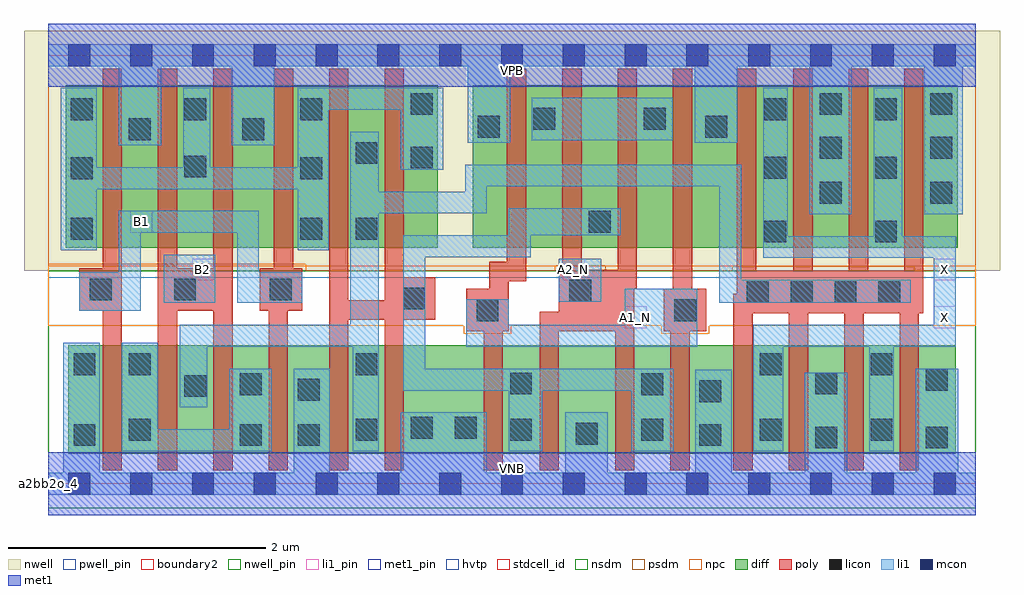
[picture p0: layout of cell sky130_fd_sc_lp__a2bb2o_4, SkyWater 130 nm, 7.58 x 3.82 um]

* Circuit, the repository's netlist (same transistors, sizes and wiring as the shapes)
* Copyright 2020 The SkyWater PDK Authors
*
* Licensed under the Apache License, Version 2.0 (the "License");
* you may not use this file except in compliance with the License.
* You may obtain a copy of the License at
*
*     https://www.apache.org/licenses/LICENSE-2.0
*
* Unless required by applicable law or agreed to in writing, software
* distributed under the License is distributed on an "AS IS" BASIS,
* WITHOUT WARRANTIES OR CONDITIONS OF ANY KIND, either express or implied.
* See the License for the specific language governing permissions and
* limitations under the License.
*
* SPDX-License-Identifier: Apache-2.0

.SUBCKT sky130_fd_sc_lp__a2bb2o_4 A1_N A2_N B1 B2 VGND VNB VPB VPWR X
*.PININFO A1_N:I A2_N:I B1:I B2:I VGND:I VNB:I VPB:I VPWR:I X:O
MMIN2 X y VGND VNB sky130_fd_pr__nfet_01v8 m=4 w=0.84U l=0.15U mult=1 sa=0.265
+ sb=0.265 sd=0.28 area=0.063 perim=1.14
MMNnor0 inor A1_N VGND VNB sky130_fd_pr__nfet_01v8 m=2 w=0.84U l=0.15U mult=1 sa=0.265
+ sb=0.265 sd=0.28 area=0.063 perim=1.14
MMNnor1 inor A2_N VGND VNB sky130_fd_pr__nfet_01v8 m=2 w=0.84U l=0.15U mult=1 sa=0.265
+ sb=0.265 sd=0.28 area=0.063 perim=1.14
MMNaoi10 VGND B1 sndNB1 VNB sky130_fd_pr__nfet_01v8 m=2 w=0.84U l=0.15U mult=1
+ sa=0.265 sb=0.265 sd=0.28 area=0.063 perim=1.14
MMNaoi11 sndNB1 B2 y VNB sky130_fd_pr__nfet_01v8 m=2 w=0.84U l=0.15U mult=1 sa=0.265
+ sb=0.265 sd=0.28 area=0.063 perim=1.14
MMNaoi20 y inor VGND VNB sky130_fd_pr__nfet_01v8 m=2 w=0.84U l=0.15U mult=1 sa=0.265
+ sb=0.265 sd=0.28 area=0.063 perim=1.14
MMIP2 X y VPWR VPB sky130_fd_pr__pfet_01v8_hvt m=4 w=1.26U l=0.15U mult=1 sa=0.265
+ sb=0.265 sd=0.28 area=0.063 perim=1.14
MMPnor0 VPWR A1_N sndPA1N VPB sky130_fd_pr__pfet_01v8_hvt m=2 w=1.26U l=0.15U mult=1
+ sa=0.265 sb=0.265 sd=0.28 area=0.063 perim=1.14
MMPnor1 sndPA1N A2_N inor VPB sky130_fd_pr__pfet_01v8_hvt m=2 w=1.26U l=0.15U mult=1
+ sa=0.265 sb=0.265 sd=0.28 area=0.063 perim=1.14
MMPaoi10 pmid B1 VPWR VPB sky130_fd_pr__pfet_01v8_hvt m=2 w=1.26U l=0.15U mult=1
+ sa=0.265 sb=0.265 sd=0.28 area=0.063 perim=1.14
MMPaoi11 pmid B2 VPWR VPB sky130_fd_pr__pfet_01v8_hvt m=2 w=1.26U l=0.15U mult=1
+ sa=0.265 sb=0.265 sd=0.28 area=0.063 perim=1.14
MMPaoi20 y inor pmid VPB sky130_fd_pr__pfet_01v8_hvt m=2 w=1.26U l=0.15U mult=1
+ sa=0.265 sb=0.265 sd=0.28 area=0.063 perim=1.14
.ENDS sky130_fd_sc_lp__a2bb2o_4

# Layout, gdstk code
import gdstk
lib = gdstk.Library(unit=1e-6, precision=1e-09)
def R(c, l, rs):  # rectangles x0, y0, x1, y1
    for r in rs: c.add(gdstk.rectangle(r[:2], r[2:], *l))
def A(c, l, x, y, w, h, nx, ny, dx, dy):  # array of equal rectangles
    R(c, l, [(x+i*dx, y+j*dy, x+i*dx+w, y+j*dy+h) for i in range(nx) for j in range(ny)])
def P(c, l, *ps):  # polygons
    for p in ps: c.add(gdstk.Polygon(p, *l))
nwell_pin = (64, 16)
nwell = (64, 20)
diff = (65, 20)
poly = (66, 20)
licon = (66, 44)
li1_pin = (67, 16)
li1 = (67, 20)
mcon = (67, 44)
met1_pin = (68, 16)
met1 = (68, 20)
hvtp = (78, 44)
stdcell_id = (81, 4)
nsdm = (93, 44)
psdm = (94, 20)
npc = (95, 20)
pwell_pin = (122, 16)
boundary2 = (236, 0)

sky130_fd_sc_lp__a2bb2o_ = lib.new_cell('sky130_fd_sc_lp__a2bb2o_4')
R(sky130_fd_sc_lp__a2bb2o_, nwell_pin, [(0,3.085,7.2,3.33)])
R(sky130_fd_sc_lp__a2bb2o_, nwell, [(-0.19,1.655,7.39,3.52)])
R(sky130_fd_sc_lp__a2bb2o_, diff, [(0.155,0.235,7.045,1.075), (0.135,1.835,3.025,3.095), (3.295,1.835,7.06,3.095)])
P(sky130_fd_sc_lp__a2bb2o_, poly, [(0.57,3.225),(0.42,3.225),(0.42,1.675),(0.24,1.675),(0.24,1.345),(0.42,1.345),(0.42,0.105),(0.57,0.105)],
  [(1.43,3.225),(1.28,3.225),(1.28,1.675),(1,1.675),(1,3.225),(0.85,3.225),(0.85,0.105),(1,0.105),(1,1.345),(1.28,1.345),(1.28,0.105),(1.43,0.105)],
  [(1.97,1.675),(1.9,1.675),(1.9,3.225),(1.75,3.225),(1.75,1.675),(1.64,1.675),(1.64,1.345),(1.71,1.345),(1.71,0.105),(1.86,0.105),(1.86,1.345),(1.97,1.345)],
  [(3.005,1.605),(2.76,1.605),(2.76,3.225),(2.61,3.225),(2.61,1.425),(2.33,1.425),(2.33,3.225),(2.18,3.225),(2.18,0.105),(2.33,0.105),(2.33,1.275),(2.61,1.275),(2.61,0.105),(2.76,0.105),(2.76,1.275),(3.005,1.275)],
  [(3.71,3.225),(3.56,3.225),(3.56,1.725),(3.425,1.725),(3.425,1.515),(3.245,1.515),(3.245,1.185),(3.38,1.185),(3.38,0.105),(3.53,0.105),(3.53,1.185),(3.575,1.185),(3.575,1.575),(3.71,1.575)],
  [(4.57,3.225),(4.42,3.225),(4.42,1.665),(4.14,1.665),(4.14,3.225),(3.99,3.225),(3.99,1.665),(3.965,1.665),(3.965,1.335),(3.815,1.335),(3.815,0.105),(3.965,0.105),(3.965,1.185),(4.4,1.185),(4.4,0.105),(4.55,0.105),(4.55,1.515),(4.57,1.515)],
  [(5.11,1.515),(5,1.515),(5,3.225),(4.85,3.225),(4.85,1.515),(4.78,1.515),(4.78,1.185),(4.83,1.185),(4.83,0.105),(4.98,0.105),(4.98,1.185),(5.11,1.185)],
  [(6.795,3.225),(6.645,3.225),(6.645,1.655),(6.365,1.655),(6.365,3.225),(6.215,3.225),(6.215,1.655),(5.935,1.655),(5.935,3.225),(5.785,3.225),(5.785,1.655),(5.495,1.655),(5.495,3.225),(5.345,3.225),(5.345,1.475),(5.32,1.475),(5.32,0.105),(5.47,0.105),(5.47,1.325),(5.75,1.325),(5.75,0.105),(5.9,0.105),(5.9,1.325),(6.18,1.325),(6.18,0.105),(6.33,0.105),(6.33,1.325),(6.61,1.325),(6.61,0.105),(6.76,0.105),(6.76,1.325),(6.795,1.325)])
A(sky130_fd_sc_lp__a2bb2o_, licon, 5.425, 1.405, 0.17, 0.17, 4, 1, 0.34, 0)
R(sky130_fd_sc_lp__a2bb2o_, licon, [(5.955,0.275,6.125,0.445), (6.815,0.275,6.985,0.445), (0.195,0.295,0.365,0.465), (1.485,0.295,1.655,0.465), (1.935,0.295,2.105,0.465), (5.055,0.295,5.225,0.465), (4.095,0.305,4.265,0.475), (0.625,0.335,0.795,0.505), (2.385,0.335,2.555,0.505), (3.585,0.335,3.755,0.505), (4.605,0.335,4.775,0.505), (5.525,0.335,5.695,0.505), (6.385,0.335,6.555,0.505), (2.815,0.35,2.985,0.52), (3.155,0.35,3.325,0.52), (5.055,0.635,5.225,0.805), (1.935,0.645,2.105,0.815), (1.055,0.675,1.225,0.845), (1.485,0.69,1.655,0.86), (4.605,0.69,4.775,0.86), (3.585,0.695,3.755,0.865), (5.955,0.695,6.125,0.865), (6.815,0.725,6.985,0.895), (0.195,0.845,0.365,1.015), (0.625,0.845,0.795,1.015), (2.385,0.845,2.555,1.015), (5.525,0.845,5.695,1.015), (6.385,0.845,6.555,1.015), (3.325,1.265,3.495,1.435), (4.86,1.265,5.03,1.435), (2.755,1.355,2.925,1.525), (4.045,1.415,4.215,1.585), (0.32,1.425,0.49,1.595), (0.975,1.425,1.145,1.595), (1.72,1.425,1.89,1.595), (5.56,1.875,5.73,2.045), (6.42,1.875,6.59,2.045), (0.175,1.895,0.345,2.065), (1.955,1.895,2.125,2.065), (2.385,1.895,2.555,2.065), (4.195,1.95,4.365,2.12), (5.99,2.175,6.16,2.345), (6.85,2.175,7.02,2.345), (0.175,2.365,0.345,2.535), (1.955,2.365,2.125,2.535), (5.56,2.37,5.73,2.54), (6.42,2.37,6.59,2.54), (1.055,2.38,1.225,2.55), (2.815,2.45,2.985,2.62), (2.385,2.485,2.555,2.655), (5.99,2.525,6.16,2.695), (6.85,2.525,7.02,2.695), (0.625,2.67,0.795,2.84), (1.505,2.67,1.675,2.84), (3.335,2.69,3.505,2.86), (5.1,2.69,5.27,2.86), (3.765,2.75,3.935,2.92), (4.625,2.75,4.795,2.92), (0.175,2.825,0.345,2.995), (1.055,2.825,1.225,2.995), (1.955,2.825,2.125,2.995), (5.56,2.825,5.73,2.995), (6.42,2.825,6.59,2.995), (2.815,2.865,2.985,3.035), (5.99,2.865,6.16,3.035), (6.85,2.865,7.02,3.035)])
A(sky130_fd_sc_lp__a2bb2o_, li1_pin, 1.115, 1.58, 0.17, 0.17, 3, 1, 2.88, 0)
R(sky130_fd_sc_lp__a2bb2o_, li1_pin, [(4.475,1.21,4.645,1.38), (6.875,1.21,7.045,1.38), (0.635,1.95,0.805,2.12)])
R(sky130_fd_sc_lp__a2bb2o_, li1, [(0.895,1.405,1.295,1.78), (3.965,1.415,4.295,1.75), (3.755,2.67,4.85,3)])
P(sky130_fd_sc_lp__a2bb2o_, li1, [(5.02,2.65),(5.02,3.245),(3.585,3.245),(3.585,2.65),(3.255,2.65),(3.255,3.245),(1.755,3.245),(1.755,2.63),(1.425,2.63),(1.425,3.245),(0.875,3.245),(0.875,2.63),(0.545,2.63),(0.545,3.245),(0,3.245),(0,3.415),(7.2,3.415),(7.2,3.245),(7.1,3.245),(7.1,2.095),(6.8,2.095),(6.8,3.245),(6.24,3.245),(6.24,2.095),(5.91,2.095),(5.91,3.245),(5.35,3.245),(5.35,2.65)],
  [(4.015,0.085),(4.015,0.555),(4.345,0.555),(4.345,0.085),(5.025,0.085),(5.025,0.885),(5.305,0.885),(5.305,0.085),(5.875,0.085),(5.875,0.865),(6.205,0.865),(6.205,0.085),(6.735,0.085),(6.735,0.895),(7.065,0.895),(7.065,0.085),(7.2,0.085),(7.2,-0.085),(0,-0.085),(0,0.085),(0.115,0.085),(0.115,1.095),(0.4,1.095),(0.4,0.085),(1.905,0.085),(1.905,0.895),(2.185,0.895),(2.185,0.085),(2.735,0.085),(2.735,0.555),(3.405,0.555),(3.405,0.085)],
  [(5.21,2.31),(3.405,2.31),(3.405,2.1),(2.565,2.1),(2.565,0.255),(2.365,0.255),(2.365,1.065),(1.235,1.065),(1.235,0.595),(1.02,0.595),(1.02,1.235),(2.345,1.235),(2.345,2.735),(2.565,2.735),(2.565,2.27),(3.235,2.27),(3.235,2.48),(5.38,2.48),(5.38,1.585),(6.695,1.585),(6.695,1.405),(5.21,1.405)],
  [(2.755,0.725),(2.755,1.93),(3.575,1.93),(3.575,2.14),(4.445,2.14),(4.445,1.93),(3.745,1.93),(3.745,1.76),(2.925,1.76),(2.925,0.895),(4.855,0.895),(4.855,0.255),(4.525,0.255),(4.525,0.725),(3.835,0.725),(3.835,0.255),(3.575,0.255),(3.575,0.725)],
  [(4.475,1.235),(4.475,1.515),(5.04,1.515),(5.04,1.065),(3.245,1.065),(3.245,1.435),(3.575,1.435),(3.575,1.235)],
  [(0.545,2.12),(1.635,2.12),(1.635,1.645),(1.97,1.645),(1.97,1.405),(1.465,1.405),(1.465,1.95),(0.715,1.95),(0.715,1.345),(0.24,1.345),(0.24,1.645),(0.545,1.645)],
  [(5.74,1.925),(6.41,1.925),(6.41,3.075),(6.63,3.075),(6.63,1.925),(7.045,1.925),(7.045,1.065),(6.565,1.065),(6.565,0.255),(6.375,0.255),(6.375,1.065),(5.705,1.065),(5.705,0.255),(5.475,0.255),(5.475,1.235),(6.875,1.235),(6.875,1.755),(5.55,1.755),(5.55,3.075),(5.74,3.075)],
  [(2.735,2.905),(2.175,2.905),(2.175,1.815),(1.935,1.815),(1.935,2.29),(0.375,2.29),(0.375,1.815),(0.095,1.815),(0.095,3.075),(0.375,3.075),(0.375,2.46),(1.045,2.46),(1.045,3.075),(1.255,3.075),(1.255,2.46),(1.935,2.46),(1.935,3.075),(3.065,3.075),(3.065,2.44),(2.735,2.44)],
  [(0.85,0.425),(1.405,0.425),(1.405,0.895),(1.735,0.895),(1.735,0.255),(0.57,0.255),(0.57,1.095),(0.85,1.095)])
A(sky130_fd_sc_lp__a2bb2o_, mcon, 0.155, -0.085, 0.17, 0.17, 15, 2, 0.48, 3.33)
R(sky130_fd_sc_lp__a2bb2o_, met1_pin, [(0,0,7.2,0.245), (0,3.085,7.2,3.33)])
R(sky130_fd_sc_lp__a2bb2o_, met1, [(0,-0.245,7.2,0.245), (0,3.085,7.2,3.575)])
R(sky130_fd_sc_lp__a2bb2o_, hvtp, [(0,1.6,7.2,3.33)])
R(sky130_fd_sc_lp__a2bb2o_, stdcell_id, [(0,0,7.2,3.33)])
R(sky130_fd_sc_lp__a2bb2o_, nsdm, [(0,-0.19,7.2,1.655)])
P(sky130_fd_sc_lp__a2bb2o_, psdm, [(7.2,3.52),(0,3.52),(0,1.705),(2,1.705),(2,1.655),(3.935,1.655),(3.935,1.695),(4.325,1.695),(4.325,1.655),(5.315,1.655),(5.315,1.685),(6.725,1.685),(6.725,1.655),(7.2,1.655)])
P(sky130_fd_sc_lp__a2bb2o_, npc, [(7.2,1.695),(0,1.695),(0,1.23),(3.225,1.23),(3.225,1.165),(3.595,1.165),(3.595,1.23),(4.76,1.23),(4.76,1.165),(5.13,1.165),(5.13,1.23),(7.2,1.23)])
R(sky130_fd_sc_lp__a2bb2o_, pwell_pin, [(0,0,7.2,0.245)])
R(sky130_fd_sc_lp__a2bb2o_, boundary2, [(0,0,7.2,3.33)])
sky130_fd_sc_lp__a2bb2o_.add(gdstk.Label('VNB', (3.6,0.123), layer=64, texttype=59))
sky130_fd_sc_lp__a2bb2o_.add(gdstk.Label('VPB', (3.6,3.208), layer=64, texttype=5))
sky130_fd_sc_lp__a2bb2o_.add(gdstk.Label('a2bb2o_4', (0,0), layer=83, texttype=44))
sky130_fd_sc_lp__a2bb2o_.add(gdstk.Label('VPWR', (3.6,3.208), layer=68, texttype=5))
sky130_fd_sc_lp__a2bb2o_.add(gdstk.Label('VGND', (3.6,0.123), layer=68, texttype=5))
sky130_fd_sc_lp__a2bb2o_.add(gdstk.Label('A1_N', (4.56,1.295), layer=67, texttype=5))
sky130_fd_sc_lp__a2bb2o_.add(gdstk.Label('B1', (0.72,2.035), layer=67, texttype=5))
sky130_fd_sc_lp__a2bb2o_.add(gdstk.Label('B2', (1.2,1.665), layer=67, texttype=5))
sky130_fd_sc_lp__a2bb2o_.add(gdstk.Label('A2_N', (4.08,1.665), layer=67, texttype=5))
sky130_fd_sc_lp__a2bb2o_.add(gdstk.Label('X', (6.96,1.295), layer=67, texttype=5))
sky130_fd_sc_lp__a2bb2o_.add(gdstk.Label('X', (6.96,1.665), layer=67, texttype=5))

lib.write_gds('sky130_fd_sc_lp__a2bb2o_4.gds')
